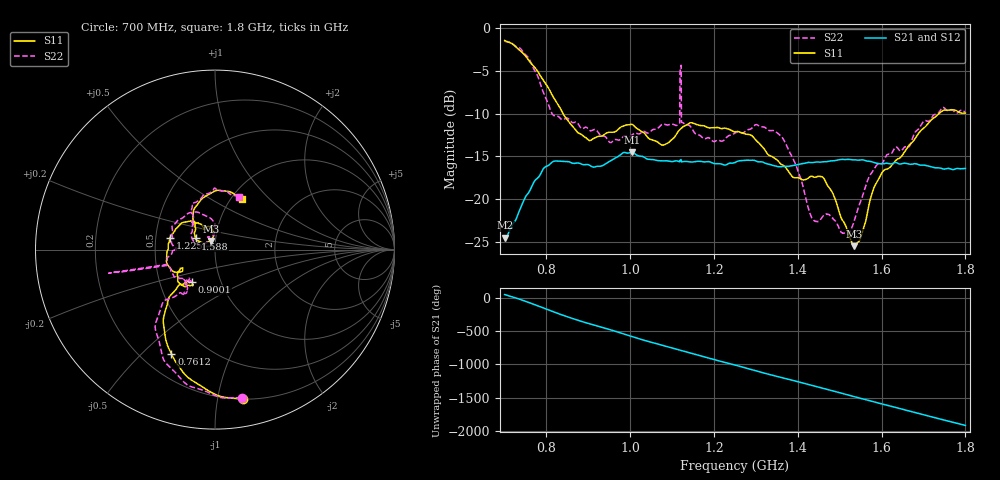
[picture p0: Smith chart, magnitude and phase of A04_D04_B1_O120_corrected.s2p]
! Created with skrf 1.9.0 (http://scikit-rf.org).
# Hz S RI R 50.0
!freq ReS11 ImS11 ReS21 ImS21 ReS12 ImS12 ReS22 ImS22
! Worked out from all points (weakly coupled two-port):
!   1601 points, 700 MHz to 1.8 GHz, reference 50 ohm
!   highest |S21| = -14.54 dB at 1.005 GHz (marker M1); lowest = -24.6 dB at 701.4 MHz (marker M2)
!   lowest |S11| = -25.5 dB at 1.535 GHz (marker M3), VSWR 1.11, Z = 47.7 + j4.63 ohm
!   |S11| at or under -10 dB: 839.5 MHz to 1.737 GHz (897.9 MHz wide, 69.7 % of centre)
!   |S22| runs from -24.2 to -1.5 dB; largest |S21 - S12| = 0.0035
!   S11 on the Smith chart (normalised r, x): 700 MHz: 0.20, -1.19; 761.2 MHz: 0.32, -0.62; 900.1 MHz: 0.73, -0.27; 1.225 GHz: 0.59, +0.08; 1.588 GHz: 0.80, +0.10; 1.8 GHz: 1.13, +0.70
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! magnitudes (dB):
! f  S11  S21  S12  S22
! 700 MHz  -1.4  -24.6  -24.3  -1.5
! 701.4 MHz  -1.5  -24.6  -24.2  -1.5
! 761.2 MHz  -4.0  -18.9  -18.8  -3.8
! 814.8 MHz  -8.0  -15.6  -15.7  -10.1
! 883.6 MHz  -12.5  -15.9  -15.8  -11.8
! 900.1 MHz  -13.1  -16.0  -16.0  -11.8
! 1.005 GHz  -11.3  -14.5  -14.7  -12.5
! 1.067 GHz  -13.4  -15.5  -15.5  -11.7
! 1.124 GHz  -11.6  -15.6  -15.6  -11.0
! 1.128 GHz  -11.5  -15.6  -15.7  -11.1
! 1.157 GHz  -11.3  -15.6  -15.6  -12.4
! 1.225 GHz  -11.7  -16.0  -16.0  -13.0
! 1.25 GHz  -12.1  -15.7  -15.7  -12.3
! 1.36 GHz  -15.9  -16.2  -16.2  -12.6
! 1.434 GHz  -17.3  -15.7  -15.7  -22.2
! 1.464 GHz  -17.7  -15.6  -15.6  -21.8
! 1.515 GHz  -23.2  -15.4  -15.4  -24.1
! 1.535 GHz  -25.5  -15.4  -15.4  -22.6
! 1.588 GHz  -18.1  -15.8  -15.8  -16.1
! 1.617 GHz  -16.4  -15.9  -15.8  -14.8
! 1.742 GHz  -9.8  -16.4  -16.4  -9.5
! 1.8 GHz  -10.0  -16.4  -16.4  -9.9
